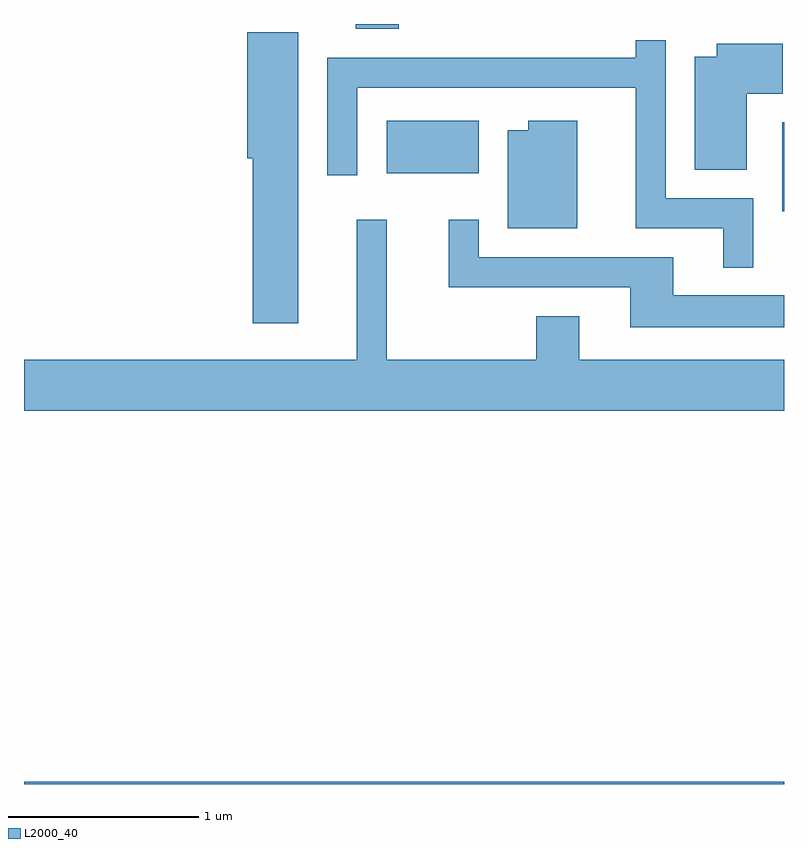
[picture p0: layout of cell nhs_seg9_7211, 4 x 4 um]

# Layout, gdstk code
import gdstk
lib = gdstk.Library(unit=1e-6, precision=1e-09)
def R(c, l, rs):  # rectangles x0, y0, x1, y1
    for r in rs: c.add(gdstk.rectangle(r[:2], r[2:], *l))
def P(c, l, *ps):  # polygons
    for p in ps: c.add(gdstk.Polygon(p, *l))
L2000_40 = (2000, 40)

nhs_seg9_7211 = lib.new_cell('nhs_seg9_7211')
R(nhs_seg9_7211, L2000_40, [(397.611,2076.432,401.611,2076.444), (401.601,2079.446,401.611,2079.914), (399.521,2079.646,400.004,2079.924), (399.356,2080.406,399.584,2080.432)])
P(nhs_seg9_7211, L2000_40, [(399.054,2080.389),(398.786,2080.389),(398.786,2079.726),(398.816,2079.726),(398.816,2078.856),(399.054,2078.856)],
  [(401.449,2079.514),(400.989,2079.514),(400.989,2080.347),(400.831,2080.347),(400.831,2080.254),(399.206,2080.254),(399.206,2079.637),(399.364,2079.637),(399.364,2080.096),(400.831,2080.096),(400.831,2079.356),(401.291,2079.356),(401.291,2079.148),(401.449,2079.148)],
  [(401.414,2080.066),(401.604,2080.066),(401.604,2080.329),(401.256,2080.329),(401.256,2080.259),(401.141,2080.259),(401.141,2079.666),(401.414,2079.666)],
  [(400.524,2079.924),(400.266,2079.924),(400.266,2079.874),(400.156,2079.874),(400.156,2079.356),(400.524,2079.356)],
  [(401.611,2079.004),(401.029,2079.004),(401.029,2079.204),(400.004,2079.204),(400.004,2079.403),(399.846,2079.403),(399.846,2079.046),(400.801,2079.046),(400.801,2078.836),(401.611,2078.836)],
  [(401.611,2078.664),(400.534,2078.664),(400.534,2078.894),(400.306,2078.894),(400.306,2078.664),(399.519,2078.664),(399.519,2079.403),(399.361,2079.403),(399.361,2078.664),(397.611,2078.664),(397.611,2078.396),(401.611,2078.396)])

lib.write_gds('nhs_seg9_7211.gds')
